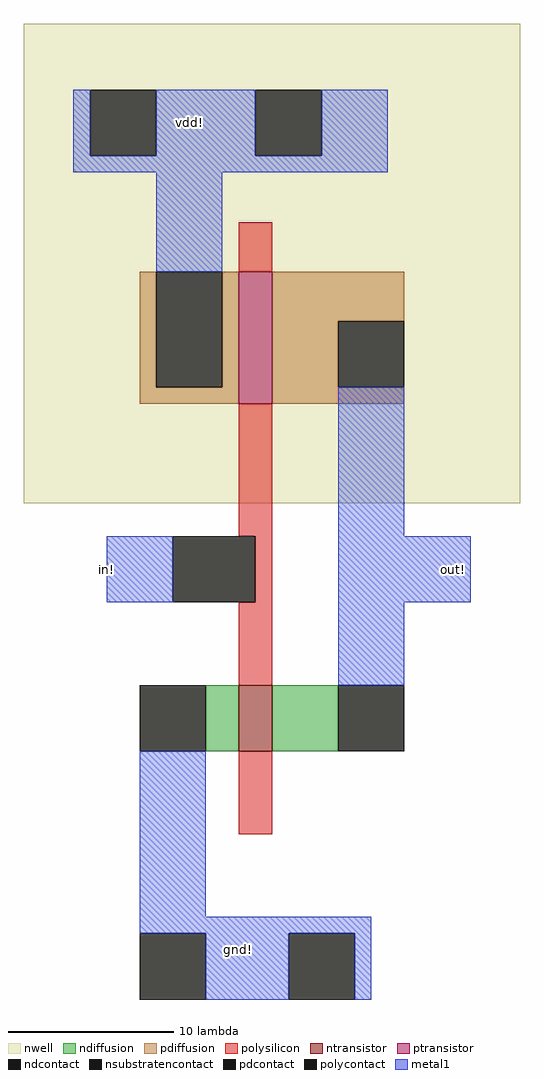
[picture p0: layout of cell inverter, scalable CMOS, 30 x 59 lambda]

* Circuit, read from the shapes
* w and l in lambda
.subckt inverter gnd! in! out! vdd!
M1 out! in! gnd! VSUBS nfet w=4 l=2
M2 out! in! vdd! vdd! pfet w=8 l=2
.ends

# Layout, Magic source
magic
tech scmos
<< nwell >>
rect -16 -2 14 27
<< ntransistor >>
rect -3 -17 -1 -13
<< ptransistor >>
rect -3 4 -1 12
<< ndiffusion >>
rect -5 -17 -3 -13
rect -1 -17 3 -13
<< pdiffusion >>
rect -9 5 -8 12
rect -4 5 -3 12
rect -9 4 -3 5
rect -1 9 7 12
rect -1 5 3 9
rect -1 4 7 5
<< ndcontact >>
rect -9 -17 -5 -13
rect 3 -17 7 -13
<< pdcontact >>
rect -8 5 -4 12
rect 3 5 7 9
<< nsubstratencontact >>
rect -12 19 -8 23
rect -2 19 2 23
rect -9 -32 -5 -28
rect 0 -32 4 -28
<< polysilicon >>
rect -3 12 -1 15
rect -3 -4 -1 4
rect -2 -8 -1 -4
rect -3 -13 -1 -8
rect -3 -22 -1 -17
<< polycontact >>
rect -7 -8 -2 -4
<< metal1 >>
rect -13 19 -12 23
rect -8 19 -2 23
rect 2 19 6 23
rect -13 18 6 19
rect -8 12 -4 18
rect 3 -4 7 5
rect -11 -8 -7 -4
rect 3 -8 11 -4
rect 3 -13 7 -8
rect -9 -27 -5 -17
rect -9 -28 5 -27
rect -5 -32 0 -28
rect 4 -32 5 -28
<< labels >>
rlabel metal1 -3 -29 -3 -29 1 gnd!
rlabel metal1 -6 21 -6 21 1 vdd!
rlabel metal1 -11 -6 -11 -6 3 in!
rlabel metal1 9 -8 11 -4 7 out!
<< end >>
